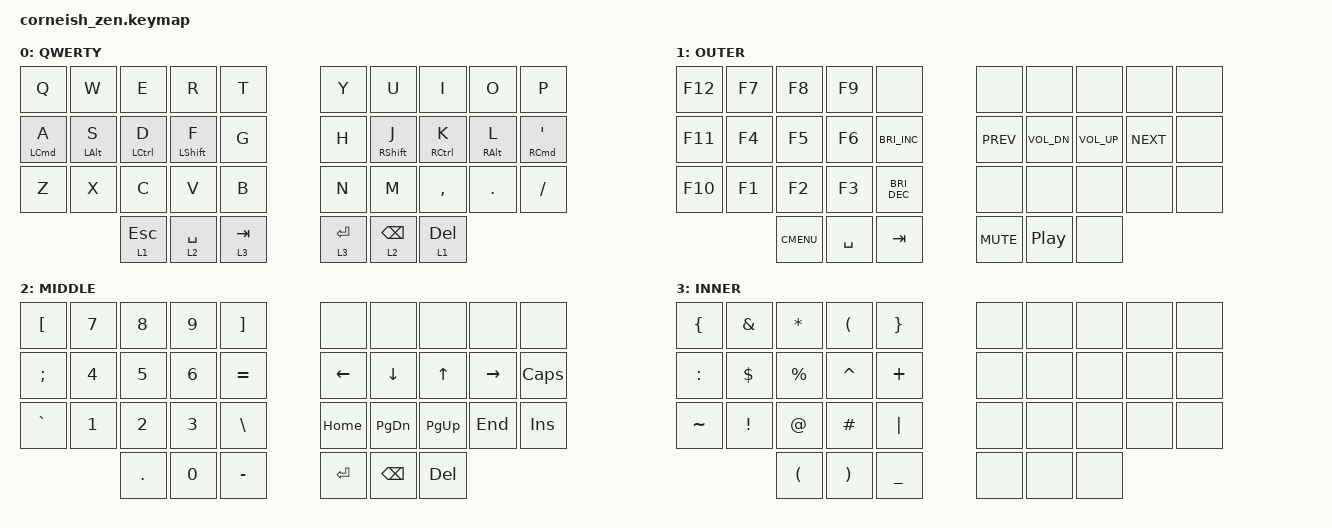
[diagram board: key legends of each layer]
/*
*
* Copyright (c) 2021 Darryl deHaan
* SPDX-License-Identifier: MIT
*
*/

#include <behaviors.dtsi>
#include <dt-bindings/zmk/keys.h>
#include <dt-bindings/zmk/bt.h>

/ {
  chosen {
    zmk,matrix_transform = &five_column_transform;
  };
};

#define QWERTY 0
#define OUTER 1
#define MIDDLE 2
#define INNER 3


/ {
  keymap {
    compatible = "zmk,keymap";

    default_layer {
      label = "QWERTY";
// ------------------------------------------------------------------
// |  Q  |  W  |  E  |  R  |  T  |   |  Y  |  U   |  I  |  O  |  P  |
// |  A  |  S  |  D  |  F  |  G  |   |  H  |  J   |  K  |  L  |  "  |
// |  Z  |  X  |  C  |  V  |  B  |   |  N  |  M   |  ,  |  .  |  /  |
//             | ESC | SPC | TAB |   | RET | BSP  | DEL |
      bindings = <
&kp Q      &kp W       &kp E       &kp R       &kp T    &kp Y     &kp U       &kp I       &kp O      &kp P
&mt LCMD A &mt LALT S  &mt LCTRL D &mt LSHFT F &kp G    &kp H     &mt RSHFT J &mt RCTRL K &mt RALT L &mt RCMD SQT
&kp Z      &kp X       &kp C       &kp V       &kp B    &kp N     &kp M       &kp COMMA   &kp DOT    &kp FSLH
&lt 1 ESC  &lt 2 SPACE &lt 3 TAB                        &lt 3 RET &lt 2 BSPC  &lt 1 DEL
      >;
    };

    outer_layer {
      label = "OUTER";
// ------------------------------------------------------------------
// | F12 | F07 | F08 | F09 |     |   |     |     |     |     |     |
// | F11 | F04 | F05 | F05 | BUP |   | PRV | VDN | VUP | NXT |     |
// | F10 | F01 | F02 | F03 | BDO |   |     |     |     |     |     |
//             | MNU | SPC | TAB |   | MUT | PLA |     |
      bindings = <
&kp F12 &kp F7 &kp F8      &kp F9    &none            &none       &none        &none        &none      &none
&kp F11 &kp F4 &kp F5      &kp F6    &kp C_BRI_INC    &kp C_PREV  &kp C_VOL_DN &kp C_VOL_UP &kp C_NEXT &none
&kp F10 &kp F1 &kp F2      &kp F3    &kp C_BRI_DEC    &none       &none        &none        &none      &none
               &kp K_CMENU &kp SPACE &kp TAB          &kp K_MUTE  &kp C_PP     &none
      >;
    };

    middle_layer {
      label = "MIDDLE";
// ------------------------------------------------------------------
// |  [  |  7  |  8  |  9  |  ]  |   |     |     |     |     |     |
// |  ;  |  4  |  5  |  6  |  =  |   |  L  |  D  |  U  |  R  | CAP |
// |  `  |  1  |  2  |  3  |  \  |   | HOM | PGD | PGU | END | INS |
//             |  .  |  0  |  -  |   | RET | BSP | DEL |
      bindings = <
&kp LBKT  &kp N7 &kp N8  &kp N9 &kp RBKT     &none    &none     &none     &none     &none
&kp SEMI  &kp N4 &kp N5  &kp N6 &kp EQUAL    &kp LEFT &kp DOWN  &kp UP    &kp RIGHT &kp CAPS
&kp GRAVE &kp N1 &kp N2  &kp N3 &kp BSLH     &kp HOME &kp PG_DN &kp PG_UP &kp END   &kp INS
                 &kp DOT &kp N0 &kp MINUS    &kp RET  &kp BSPC  &kp DEL
      >;
    };

    inner_layer {
      label = "INNER";
// TODO Add mouse movement
// ------------------------------------------------------------------
// |  {  |  &  |  *  |  (  |  }  |   |     |     |     |     |     |
// |  :  |  $  |  %  |  ^  |  +  |   | MLT | MDO | MUP | MRT |     |
// |  ~  |  !  |  @  |  #  |  |  |   | MWL | MWD | MWU | MWR |     |
//             |  (  |  )  |  _  |   | MC1 | MC2 | MC3 |
      bindings = <
&kp LBRC  &kp AMPS &kp STAR  &kp LPAR  &kp RBRC     &none &none &none &none &none
&kp COLON &kp DLLR &kp PRCNT &kp CARET &kp PLUS     &none &none &none &none &none
&kp TILDE &kp EXCL &kp AT    &kp HASH  &kp PIPE     &none &none &none &none &none
                   &kp LPAR  &kp RPAR  &kp UNDER    &none &none &none
      >;
    };

  };
};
